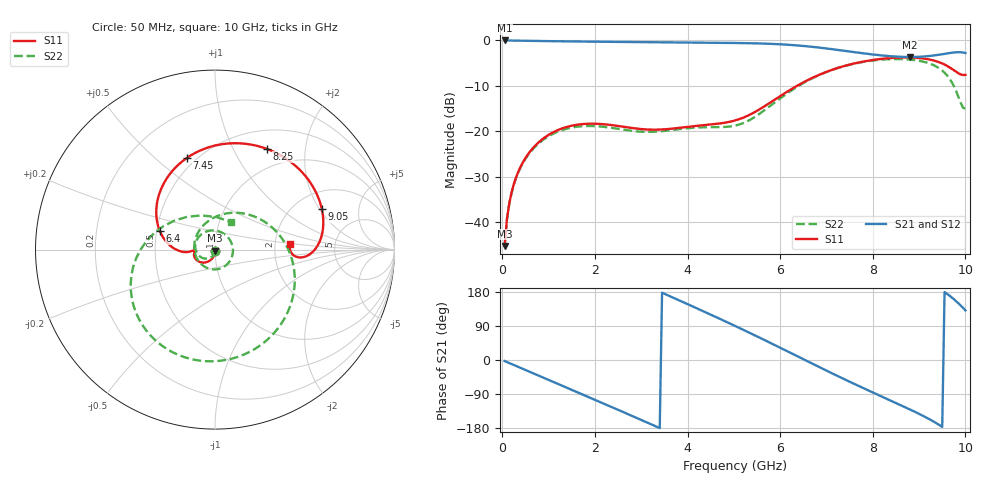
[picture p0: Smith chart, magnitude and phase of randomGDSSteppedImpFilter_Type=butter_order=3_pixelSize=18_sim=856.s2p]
! freq	dB(S11)	phase(S11)	dB(S12)	phase(S12)
!  dB(S21)	phase(S21)	dB(S22)	phase(S22)
!S-par simulation data
#  GHz  S  DB  R 50
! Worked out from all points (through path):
!   200 points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, 50 MHz to 10 GHz, reference 50 ohm
!   highest |S21| = -0.01 dB at 50 MHz (marker M1); lowest = -3.6 dB at 8.8 GHz (marker M2)
!   group delay of S21, straight-line fit = 158 ps
!   lowest |S11| = -45.2 dB at 50 MHz (marker M3), VSWR 1.01, Z = 50 - j0.549 ohm
!   |S11| at or under -10 dB: start of sweep to 6.361 GHz
!   |S22| runs from -45.2 to -4.1 dB; largest |S21 - S12| = 0
!   S11 on the Smith chart (normalised r, x): 50 MHz: 1.00, -0.01; 6.4 GHz: 0.52, +0.12; 7.45 GHz: 0.45, +0.64; 8.25 GHz: 0.74, +1.37; 9.05 GHz: 2.78, +2.10; 10 GHz: 2.42, +0.18
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0.05  -45.17 -84.9  -0.01 -2.7  -0.01 -2.7  -45.21 -85.8
0.1  -39.30 -88.5  -0.02 -5.3  -0.02 -5.3  -39.38 -90.2
0.2  -33.43 -93.4  -0.03 -10.6  -0.03 -10.6  -33.51 -97.5
0.5  -25.85 -107.2  -0.08 -26.4  -0.08 -26.4  -26.03 -117.8
1.15  -19.93 -134.2  -0.18 -60.5  -0.18 -60.5  -20.26 -161.3
1.75  -18.37 -155.5  -0.26 -91.9  -0.26 -91.9  -18.84 155.8
2.7  -19.10 -175.1  -0.34 -142.1  -0.34 -142.1  -19.74 72.2
3.4  -19.59 -175.6  -0.40 -179.7  -0.40 -179.7  -19.99 -4.1
4.15  -18.84 -176.4  -0.48 139.2  -0.48 139.2  -19.17 -83.0
4.6  -18.37 -177.6  -0.52 114.1  -0.52 114.1  -19.07 -131.2
5.05  -17.52 -176.1  -0.57 88.6  -0.57 88.6  -18.67 173.6
5.65  -14.55 -176.7  -0.70 53.4  -0.70 53.4  -15.42 98.4
6.4  -9.78 161.3  -1.13 8.1  -1.13 8.1  -9.98 29.3
6.7  -8.21 147.3  -1.42 -10.0  -1.42 -10.0  -8.29 7.4
7.45  -5.44 107.0  -2.37 -54.4  -2.37 -54.4  -5.47 -40.1
8.25  -3.99 62.6  -3.36 -99.5  -3.36 -99.5  -4.18 -84.3
8.35  -3.90 57.1  -3.45 -105.0  -3.45 -105.0  -4.13 -89.8
8.8  -3.76 33.4  -3.64 -130.3  -3.64 -130.3  -4.21 -115.0
9.05  -3.92 20.7  -3.57 -145.2  -3.57 -145.2  -4.58 -130.8
9.6  -5.57 -3.0  -2.87 175.0  -2.87 175.0  -7.64 -180.0
9.85  -7.22 -3.8  -2.59 149.6  -2.59 149.6  -12.41 130.3
10  -7.58 4.1  -2.77 131.0  -2.77 131.0  -14.96 59.0
